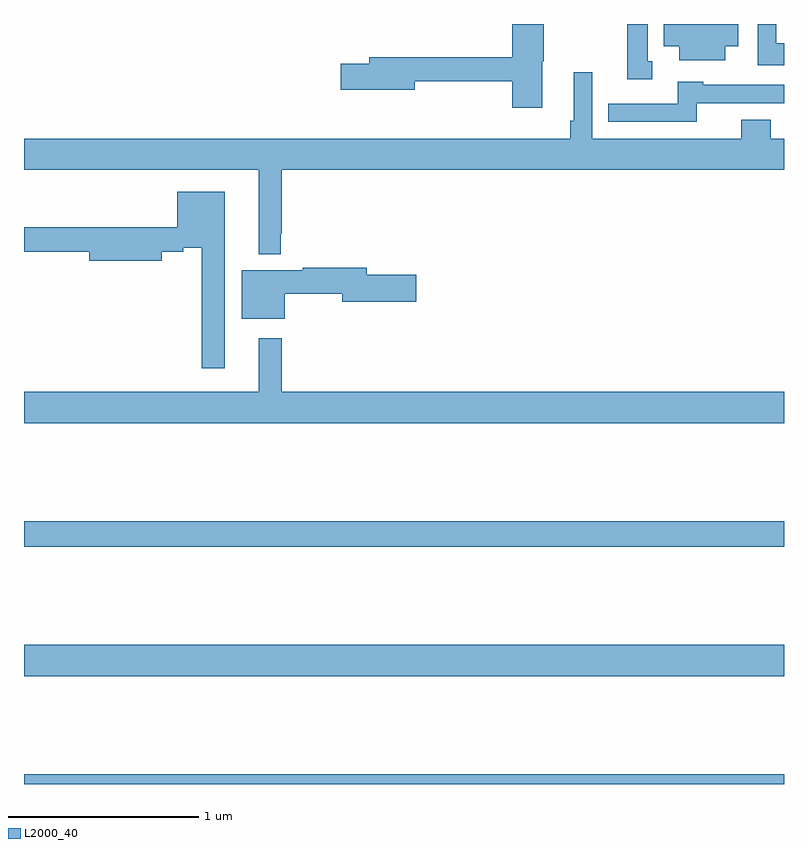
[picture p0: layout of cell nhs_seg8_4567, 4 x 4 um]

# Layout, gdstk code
import gdstk
lib = gdstk.Library(unit=1e-6, precision=1e-09)
def R(c, l, rs):  # rectangles x0, y0, x1, y1
    for r in rs: c.add(gdstk.rectangle(r[:2], r[2:], *l))
def P(c, l, *ps):  # polygons
    for p in ps: c.add(gdstk.Polygon(p, *l))
L2000_40 = (2000, 40)

nhs_seg8_4567 = lib.new_cell('nhs_seg8_4567')
R(nhs_seg8_4567, L2000_40, [(387,1147.9,391,1147.952), (387,1148.468,391,1148.632), (387,1149.148,391,1149.284)])
P(nhs_seg8_4567, L2000_40, [(391,1151.798),(390.96,1151.798),(390.96,1151.9),(390.861,1151.9),(390.861,1151.682),(391,1151.682)],
  [(390.307,1151.703),(390.282,1151.703),(390.282,1151.9),(390.174,1151.9),(390.174,1151.609),(390.307,1151.609)],
  [(390.691,1151.783),(390.76,1151.783),(390.76,1151.9),(390.367,1151.9),(390.367,1151.783),(390.449,1151.783),(390.449,1151.708),(390.691,1151.708)],
  [(389.728,1151.703),(389.736,1151.703),(389.736,1151.9),(389.57,1151.9),(389.57,1151.726),(388.817,1151.726),(388.817,1151.69),(388.668,1151.69),(388.668,1151.555),(389.056,1151.555),(389.056,1151.598),(389.57,1151.598),(389.57,1151.46),(389.728,1151.46)],
  [(391,1151.296),(390.929,1151.296),(390.929,1151.395),(390.776,1151.395),(390.776,1151.296),(389.991,1151.296),(389.991,1151.647),(389.894,1151.647),(389.894,1151.392),(389.875,1151.392),(389.875,1151.296),(387,1151.296),(387,1151.132),(388.235,1151.132),(388.235,1150.688),(388.35,1150.688),(388.35,1150.795),(388.357,1150.795),(388.357,1151.132),(391,1151.132)],
  [(390.54,1151.484),(391,1151.484),(391,1151.58),(390.576,1151.58),(390.576,1151.596),(390.44,1151.596),(390.44,1151.481),(390.076,1151.481),(390.076,1151.385),(390.54,1151.385)],
  [(388.057,1151.017),(387.806,1151.017),(387.806,1150.831),(387,1150.831),(387,1150.702),(387.344,1150.702),(387.344,1150.655),(387.724,1150.655),(387.724,1150.702),(387.839,1150.702),(387.839,1150.722),(387.936,1150.722),(387.936,1150.089),(388.057,1150.089)],
  [(388.372,1150.48),(388.676,1150.48),(388.676,1150.438),(389.065,1150.438),(389.065,1150.58),(388.804,1150.58),(388.804,1150.616),(388.468,1150.616),(388.468,1150.603),(388.145,1150.603),(388.145,1150.349),(388.372,1150.349)],
  [(391,1149.964),(388.357,1149.964),(388.357,1150.246),(388.235,1150.246),(388.235,1149.964),(387,1149.964),(387,1149.8),(391,1149.8)])

lib.write_gds('nhs_seg8_4567.gds')
